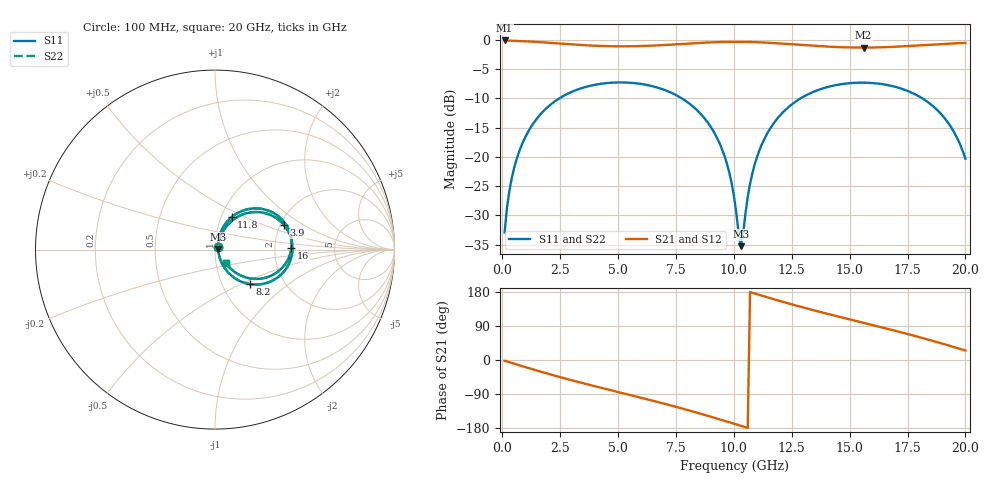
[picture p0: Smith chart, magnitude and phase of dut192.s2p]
! Touchstone file exported from HFSS 2026.1.0
!  File:  C:/ffzhzh/LocalFiles/Ansys_Project_Files/temp_train_TSV_RDL_192_1783058665_18316.aedt
!  Generated:  02:21:15 PM Jul  3, 2026
!  Design:  TSV_RDL
!  Project:  temp_train_TSV_RDL_192_1783058665_18316
! Variables:
!  h_bsmrdl = 4.74um
!  h_ox = 20um
!  h_rdl = 5um
!  h_sub = 98.66um
!  h_tmrdl = 4.04um
!  h_tsv = 98.66um
!  h_via = 3um
!  l_bsmrdl = 572.98um
!  l_sub = 5520.05um
!  l_tmrdl = 806.05um
!  m_sub = 200um
!  pitch = 56.91um
!  r_tsv = 14.64um
!  s_tmrdl = 10um
!  w_bsmrdl = 29.36um
!  w_sub = 500um
!  w_tmrdl = 29.61um
!  x_tsv_center1 = 820.855um
!  x_tsv_center2 = 1423.195um
!  x_tsv_center3 = 2258.855um
!  x_tsv_center4 = 2861.195um
!  x_tsv_center5 = 3696.855um
!  x_tsv_center6 = 4299.195um
# GHz S MA R 50.000000
! Terminal data exported
! Port[1] = TM_RDL1_1_T1
! Port[2] = TM_RDL5_1_T1
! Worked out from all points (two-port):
!   200 points, 100 MHz to 20 GHz, reference 50 ohm
!   highest |S21| = -0.13 dB at 100 MHz (marker M1); lowest = -1.3 dB at 15.6 GHz (marker M2)
!   |S21| within 3 dB of the highest: start of sweep to end of sweep
!   lowest |S11| = -35.2 dB at 10.3 GHz (marker M3), VSWR 1.04, Z = 51.8 + j0.0644 ohm
!   |S11| at or under -10 dB: start of sweep to 2.47 GHz; 7.746 GHz to 12.89 GHz (5.141 GHz wide, 49.8 % of centre); 18.13 GHz to end of sweep
!   |S22| runs from -35.2 to -7.3 dB; largest |S21 - S12| = 1.7e-14
!   S11 on the Smith chart (normalised r, x): 100 MHz: 1.03, +0.03; 3.9 GHz: 2.10, +0.69; 8.2 GHz: 1.35, -0.56; 11.8 GHz: 1.12, +0.42; 16 GHz: 2.48, +0.05; 20 GHz: 1.12, -0.17
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0.1  0.0227 45.8  0.9846 -2.0  0.9846 -2.0  0.0227 45.8
! Gamma 0 0 0 0
! Port Impedance 50 0 50 0
0.3  0.05058 63.9  0.9814 -5.8  0.9814 -5.8  0.05058 63.9
0.5  0.0788 66.7  0.9785 -9.6  0.9785 -9.6  0.0788 66.7
1.1  0.1617 62.2  0.9668 -20.7  0.9668 -20.7  0.1617 62.2
2.1  0.2806 47.2  0.9382 -38.5  0.9382 -38.5  0.2806 47.2
3.5  0.3899 25.5  0.8977 -61.5  0.8977 -61.5  0.3899 25.5
3.9  0.4084 19.5  0.8893 -67.7  0.8893 -67.7  0.4084 19.5
6.8  0.3847 -23.2  0.8957 -112.2  0.8957 -112.2  0.3847 -23.2
8.2  0.2727 -44.7  0.93 -135.4  0.93 -135.4  0.2727 -44.7
9.4  0.1284 -61.5  0.9543 -156.9  0.9543 -156.9  0.1284 -61.6
9.8  0.07397 -63.0  0.9581 -164.2  0.9581 -164.2  0.07397 -63.0
10.1  0.03406 -51.4  0.959 -169.8  0.959 -169.8  0.03405 -51.4
10.3  0.01731 2.1  0.9586 -173.5  0.9586 -173.5  0.01729 2.1
10.6  0.04552 66.7  0.9566 -179.1  0.9566 -179.1  0.04552 66.7
10.9  0.08608 72.0  0.9529 175.4  0.9529 175.4  0.08609 72.1
11.8  0.2029 62.9  0.9336 159.1  0.9336 159.1  0.2029 62.9
13.4  0.3564 38.8  0.8875 132.0  0.8875 132.0  0.3564 38.8
15.6  0.4297 6.9  0.8561 98.1  0.8561 98.1  0.4298 6.9
16  0.4262 1.2  0.8576 92.1  0.8576 92.1  0.4263 1.2
16.7  0.4075 -8.9  0.8654 81.4  0.8654 81.4  0.4076 -8.9
18.8  0.2493 -39.9  0.9148 46.8  0.9148 46.8  0.2493 -39.8
20  0.09654 -51.2  0.9373 25.0  0.9373 25.0  0.09665 -51.1
